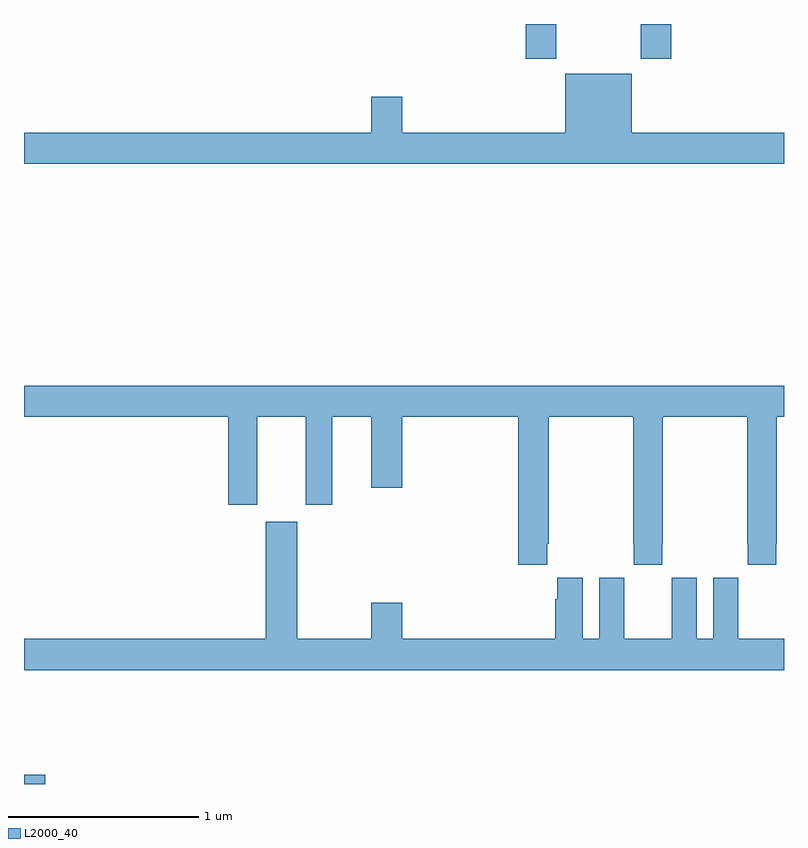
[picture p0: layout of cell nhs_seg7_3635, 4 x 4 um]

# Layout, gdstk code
import gdstk
lib = gdstk.Library(unit=1e-6, precision=1e-09)
def R(c, l, rs):  # rectangles x0, y0, x1, y1
    for r in rs: c.add(gdstk.rectangle(r[:2], r[2:], *l))
def P(c, l, *ps):  # polygons
    for p in ps: c.add(gdstk.Polygon(p, *l))
L2000_40 = (2000, 40)

nhs_seg7_3635 = lib.new_cell('nhs_seg7_3635')
R(nhs_seg7_3635, L2000_40, [(343,1016,343.111,1016.048), (345.641,1019.817,345.801,1020), (346.246,1019.817,346.406,1020)])
P(nhs_seg7_3635, L2000_40, [(347,1019.428),(346.198,1019.428),(346.198,1019.737),(345.848,1019.737),(345.848,1019.428),(344.992,1019.428),(344.992,1019.617),(344.828,1019.617),(344.828,1019.428),(343,1019.428),(343,1019.264),(347,1019.264)],
  [(345.755,1017.265),(345.762,1017.265),(345.762,1017.932),(346.207,1017.932),(346.207,1017.265),(346.209,1017.265),(346.209,1017.153),(346.359,1017.153),(346.359,1017.265),(346.362,1017.265),(346.362,1017.932),(346.807,1017.932),(346.807,1017.265),(346.809,1017.265),(346.809,1017.153),(346.959,1017.153),(346.959,1017.265),(346.962,1017.265),(346.962,1017.932),(347,1017.932),(347,1018.096),(343,1018.096),(343,1017.932),(344.075,1017.932),(344.075,1017.471),(344.227,1017.471),(344.227,1017.932),(344.483,1017.932),(344.483,1017.471),(344.623,1017.471),(344.623,1017.932),(344.828,1017.932),(344.828,1017.558),(344.992,1017.558),(344.992,1017.932),(345.602,1017.932),(345.602,1017.153),(345.755,1017.153)],
  [(347,1016.764),(346.759,1016.764),(346.759,1016.972),(346.758,1016.972),(346.758,1017.085),(346.628,1017.085),(346.628,1016.764),(346.54,1016.764),(346.54,1017.085),(346.41,1017.085),(346.41,1016.972),(346.409,1016.972),(346.409,1016.764),(346.159,1016.764),(346.159,1016.972),(346.158,1016.972),(346.158,1017.085),(346.028,1017.085),(346.028,1016.764),(345.94,1016.764),(345.94,1017.085),(345.806,1017.085),(345.806,1016.972),(345.797,1016.972),(345.797,1016.764),(344.992,1016.764),(344.992,1016.953),(344.828,1016.953),(344.828,1016.764),(344.437,1016.764),(344.437,1017.379),(344.273,1017.379),(344.273,1016.764),(343,1016.764),(343,1016.6),(347,1016.6)])

lib.write_gds('nhs_seg7_3635.gds')
